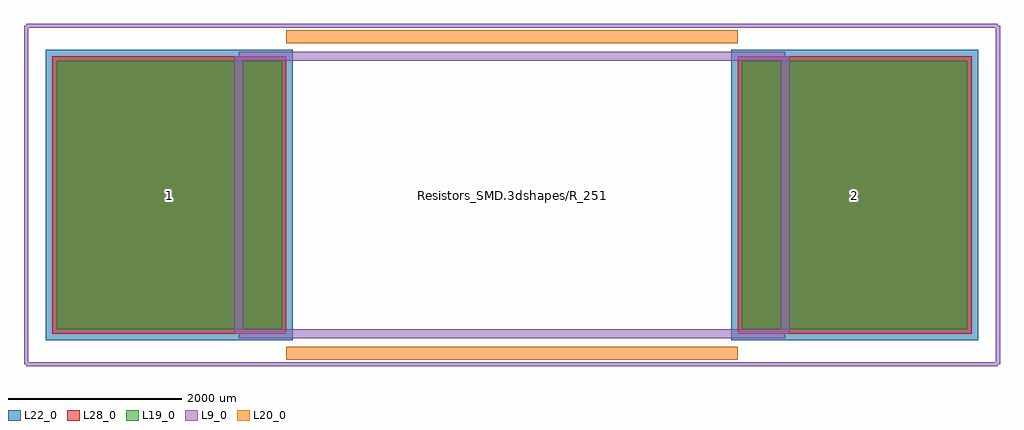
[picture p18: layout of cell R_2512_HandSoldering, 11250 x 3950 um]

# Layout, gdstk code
import gdstk
lib = gdstk.Library(unit=1e-6, precision=1e-09)
def R(c, l, rs):  # rectangles x0, y0, x1, y1
    for r in rs: c.add(gdstk.rectangle(r[:2], r[2:], *l))
L9_0 = (9, 0)
L19_0 = (19, 0)
L20_0 = (20, 0)
L22_0 = (22, 0)
L28_0 = (28, 0)

r_2512_handsoldering = lib.new_cell('R_2512_HandSoldering')
R(r_2512_handsoldering, L19_0, [(-5250,-1550,-2650,1550), (2650,-1550,5250,1550)])
R(r_2512_handsoldering, L22_0, [(-5375,-1675,-2525,1675), (2525,-1675,5375,1675)])
R(r_2512_handsoldering, L28_0, [(-5300,-1600,-2600,1600), (2600,-1600,5300,1600)])
r_2512_handsoldering.add(gdstk.FlexPath([(-2600,1825),(2600,1825)], 149.998, ends="flush", simple_path=True, layer=20, datatype=0))  # L20_0
r_2512_handsoldering.add(gdstk.FlexPath([(2600,-1825),(-2600,-1825)], 149.998, ends="flush", simple_path=True, layer=20, datatype=0))  # L20_0
r_2512_handsoldering.add(gdstk.FlexPath([(5600,1950),(5600,-1950)], 50, ends="flush", simple_path=True, layer=9, datatype=0))  # L9_0
r_2512_handsoldering.add(gdstk.FlexPath([(-5600,1950),(-5600,-1950)], 50, ends="flush", simple_path=True, layer=9, datatype=0))  # L9_0
r_2512_handsoldering.add(gdstk.FlexPath([(-5600,-1950),(5600,-1950)], 50, ends="flush", simple_path=True, layer=9, datatype=0))  # L9_0
r_2512_handsoldering.add(gdstk.FlexPath([(-5600,1950),(5600,1950)], 50, ends="flush", simple_path=True, layer=9, datatype=0))  # L9_0
r_2512_handsoldering.add(gdstk.FlexPath([(-3150,1600),(3150,1600)], 100, ends="flush", simple_path=True, layer=9, datatype=0))  # L9_0
r_2512_handsoldering.add(gdstk.FlexPath([(3150,1600),(3150,-1600)], 100, ends="flush", simple_path=True, layer=9, datatype=0))  # L9_0
r_2512_handsoldering.add(gdstk.FlexPath([(3150,-1600),(-3150,-1600)], 100, ends="flush", simple_path=True, layer=9, datatype=0))  # L9_0
r_2512_handsoldering.add(gdstk.FlexPath([(-3150,-1600),(-3150,1600)], 100, ends="flush", simple_path=True, layer=9, datatype=0))  # L9_0
r_2512_handsoldering.add(gdstk.Label('Resistors_SMD.3dshapes/R_2512_HandSoldering.wrl', (0,0), layer=12, texttype=0))
r_2512_handsoldering.add(gdstk.Label('2', (3950,0), layer=28, texttype=0))
r_2512_handsoldering.add(gdstk.Label('1', (-3950,0), layer=28, texttype=0))
r_2512_handsoldering.add(gdstk.Label('type', (0,-3100), layer=9, texttype=0))
r_2512_handsoldering.add(gdstk.Label('devicename', (0,3100), layer=9, texttype=0))

lib.write_gds('R_2512_HandSoldering.gds')
